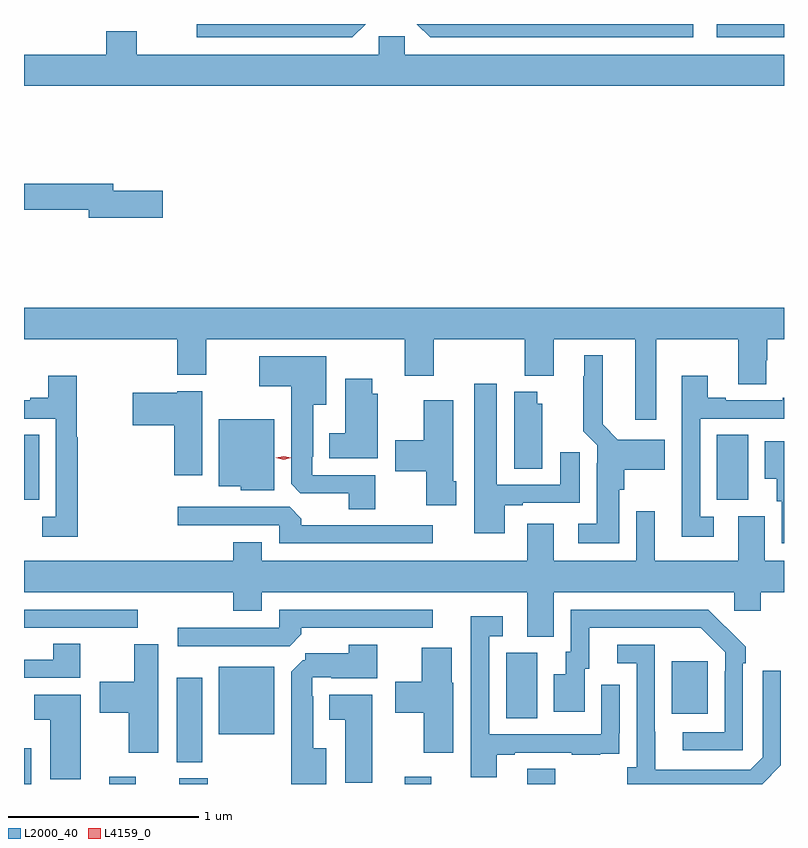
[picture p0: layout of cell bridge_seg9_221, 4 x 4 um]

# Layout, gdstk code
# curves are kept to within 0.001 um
import gdstk
lib = gdstk.Library(unit=1e-6, precision=1e-09)
def R(c, l, rs):  # rectangles x0, y0, x1, y1
    for r in rs: c.add(gdstk.rectangle(r[:2], r[2:], *l))
def P(c, l, *ps):  # polygons
    for p in ps: c.add(gdstk.Polygon(p, *l))
L2000_40 = (2000, 40)
L4159_0 = (4159, 0)

bridge_seg9_221 = lib.new_cell('bridge_seg9_221')
R(bridge_seg9_221, L2000_40, [(240.261,1207.398,240.298,1207.585), (240.71,1207.398,240.85,1207.435), (241.079,1207.398,241.227,1207.428), (242.264,1207.398,242.404,1207.435), (242.909,1207.398,243.057,1207.478), (241.064,1207.513,241.198,1207.957), (241.286,1207.661,241.579,1208.014), (242.798,1207.744,242.962,1208.088), (243.671,1207.769,243.859,1208.044), (240.261,1208.22,240.859,1208.316), (240.261,1208.893,240.34,1209.236), (243.908,1208.893,244.072,1209.236), (243.908,1211.328,244.261,1211.398)])
P(bridge_seg9_221, L2000_40, [(243.784,1211.398),(242.329,1211.398),(242.399,1211.328),(243.784,1211.328)],
  [(242.059,1211.398),(241.169,1211.398),(241.169,1211.328),(241.989,1211.328)],
  [(244.261,1211.236),(242.265,1211.236),(242.265,1211.334),(242.127,1211.334),(242.127,1211.236),(240.855,1211.236),(240.855,1211.36),(240.695,1211.36),(240.695,1211.236),(240.261,1211.236),(240.261,1211.072),(244.261,1211.072)],
  [(240.991,1210.52),(240.73,1210.52),(240.73,1210.556),(240.261,1210.556),(240.261,1210.42),(240.602,1210.42),(240.602,1210.378),(240.991,1210.378)],
  [(243.589,1209.74),(244.019,1209.74),(244.019,1209.502),(244.167,1209.502),(244.167,1209.627),(244.172,1209.627),(244.172,1209.74),(244.261,1209.74),(244.261,1209.904),(240.261,1209.904),(240.261,1209.74),(241.067,1209.74),(241.067,1209.551),(241.219,1209.551),(241.219,1209.74),(242.264,1209.74),(242.264,1209.546),(242.417,1209.546),(242.417,1209.74),(242.897,1209.74),(242.897,1209.548),(243.049,1209.548),(243.049,1209.74),(243.479,1209.74),(243.479,1209.315),(243.589,1209.315)],
  [(243.394,1208.946),(243.42,1208.946),(243.42,1209.053),(243.634,1209.053),(243.634,1209.211),(243.387,1209.211),(243.307,1209.292),(243.307,1209.655),(243.209,1209.655),(243.209,1209.545),(243.205,1209.545),(243.205,1209.254),(243.279,1209.18),(243.279,1209.086),(243.275,1209.086),(243.275,1208.767),(243.177,1208.767),(243.177,1208.666),(243.394,1208.666)],
  [(242.11,1209.024),(241.779,1209.024),(241.779,1209.121),(241.783,1209.121),(241.783,1209.395),(241.852,1209.395),(241.852,1209.649),(241.5,1209.649),(241.5,1209.491),(241.667,1209.491),(241.667,1208.977),(241.716,1208.928),(241.97,1208.928),(241.97,1208.845),(242.11,1208.845)],
  [(240.545,1209.224),(240.538,1209.224),(240.538,1209.547),(240.389,1209.547),(240.389,1209.43),(240.293,1209.43),(240.293,1209.417),(240.261,1209.417),(240.261,1209.321),(240.429,1209.321),(240.429,1208.805),(240.357,1208.805),(240.357,1208.7),(240.545,1208.7)],
  [(243.892,1208.805),(243.819,1208.805),(243.819,1209.321),(244.261,1209.321),(244.261,1209.43),(244.255,1209.43),(244.255,1209.417),(243.955,1209.417),(243.955,1209.43),(243.859,1209.43),(243.859,1209.547),(243.722,1209.547),(243.722,1209.324),(243.723,1209.324),(243.723,1208.957),(243.722,1208.957),(243.722,1208.7),(243.892,1208.7)],
  [(242.122,1209.453),(242.095,1209.453),(242.095,1209.532),(241.952,1209.532),(241.952,1209.244),(241.868,1209.244),(241.868,1209.113),(242.122,1209.113)],
  [(242.791,1208.865),(242.887,1208.865),(242.887,1208.877),(243.187,1208.877),(243.187,1209.145),(243.083,1209.145),(243.083,1208.973),(242.749,1208.973),(242.749,1209.505),(242.63,1209.505),(242.63,1208.718),(242.791,1208.718)],
  [(241.198,1209.466),(241.068,1209.466),(241.068,1209.457),(240.834,1209.457),(240.834,1209.287),(241.052,1209.287),(241.052,1209.024),(241.198,1209.024)],
  [(242.989,1209.399),(242.962,1209.399),(242.962,1209.463),(242.84,1209.463),(242.84,1209.058),(242.989,1209.058)],
  [(242.536,1208.991),(242.521,1208.991),(242.521,1209.418),(242.366,1209.418),(242.366,1209.207),(242.214,1209.207),(242.214,1209.044),(242.378,1209.044),(242.378,1208.865),(242.536,1208.865)],
  [(241.579,1209.319),(241.286,1209.319),(241.286,1208.966),(241.401,1208.966),(241.401,1208.945),(241.579,1208.945)],
  [(244.261,1209.202),(244.16,1209.202),(244.16,1209.005),(244.223,1209.005),(244.223,1208.886),(244.248,1208.886),(244.248,1208.664),(244.261,1208.664)],
  [(242.413,1208.76),(241.721,1208.76),(241.721,1208.794),(241.659,1208.856),(241.071,1208.856),(241.071,1208.76),(241.605,1208.76),(241.605,1208.664),(242.413,1208.664)],
  [(243.049,1208.408),(243.999,1208.408),(243.999,1208.31),(244.138,1208.31),(244.138,1208.408),(244.261,1208.408),(244.261,1208.572),(244.159,1208.572),(244.159,1208.808),(244.019,1208.808),(244.019,1208.572),(243.58,1208.572),(243.58,1208.833),(243.483,1208.833),(243.483,1208.572),(243.049,1208.572),(243.049,1208.767),(242.909,1208.767),(242.909,1208.572),(241.513,1208.572),(241.513,1208.671),(241.361,1208.671),(241.361,1208.572),(240.261,1208.572),(240.261,1208.408),(241.361,1208.408),(241.361,1208.309),(241.513,1208.309),(241.513,1208.408),(242.909,1208.408),(242.909,1208.173),(243.049,1208.173)],
  [(241.721,1208.186),(241.721,1208.22),(242.413,1208.22),(242.413,1208.316),(241.605,1208.316),(241.605,1208.22),(241.071,1208.22),(241.071,1208.124),(241.659,1208.124)],
  [(244.044,1208.033),(244.059,1208.033),(244.059,1208.121),(243.862,1208.316),(243.138,1208.316),(243.138,1208.094),(243.113,1208.094),(243.113,1207.975),(243.05,1207.975),(243.05,1207.779),(243.211,1207.779),(243.211,1208.004),(243.235,1208.004),(243.235,1208.22),(243.823,1208.22),(243.951,1208.091),(243.951,1207.991),(243.948,1207.991),(243.948,1207.671),(243.729,1207.671),(243.729,1207.575),(244.044,1207.575)],
  [(242.749,1207.551),(242.845,1207.551),(242.845,1207.563),(243.145,1207.563),(243.145,1207.551),(243.293,1207.551),(243.293,1207.557),(243.395,1207.557),(243.395,1207.666),(243.396,1207.666),(243.396,1207.921),(243.3,1207.921),(243.3,1207.659),(242.709,1207.659),(242.709,1208.175),(242.782,1208.175),(242.782,1208.281),(242.613,1208.281),(242.613,1207.434),(242.749,1207.434)],
  [(240.556,1208.135),(240.416,1208.135),(240.416,1208.052),(240.261,1208.052),(240.261,1207.956),(240.556,1207.956)],
  [(240.967,1208.134),(240.842,1208.134),(240.842,1207.936),(240.66,1207.936),(240.66,1207.774),(240.812,1207.774),(240.812,1207.563),(240.967,1207.563)],
  [(241.852,1207.585),(241.783,1207.585),(241.783,1207.859),(241.779,1207.859),(241.779,1207.959),(241.879,1207.959),(241.879,1207.955),(242.119,1207.955),(242.119,1208.131),(241.97,1208.131),(241.97,1208.085),(241.74,1208.085),(241.74,1208.049),(241.727,1208.049),(241.667,1207.989),(241.667,1207.398),(241.852,1207.398)],
  [(244.245,1207.497),(244.245,1207.993),(244.149,1207.993),(244.149,1207.539),(244.083,1207.473),(243.583,1207.473),(243.582,1208.13),(243.384,1208.13),(243.384,1208.034),(243.486,1208.034),(243.486,1207.486),(243.435,1207.486),(243.435,1207.398),(244.146,1207.398)],
  [(242.521,1207.932),(242.512,1207.932),(242.512,1208.116),(242.354,1208.116),(242.354,1207.936),(242.214,1207.936),(242.214,1207.774),(242.366,1207.774),(242.366,1207.563),(242.521,1207.563)],
  [(240.559,1207.867),(240.314,1207.867),(240.314,1207.736),(240.398,1207.736),(240.398,1207.422),(240.559,1207.422)],
  [(242.095,1207.867),(241.868,1207.867),(241.868,1207.736),(241.952,1207.736),(241.952,1207.404),(242.095,1207.404)])
P(bridge_seg9_221, L4159_0, [(241.627,1209.104),(241.586,1209.114),(241.586,1209.114),(241.586,1209.114),(241.627,1209.124),(241.668,1209.115),(241.668,1209.114),(241.668,1209.114)])

lib.write_gds('bridge_seg9_221.gds')
